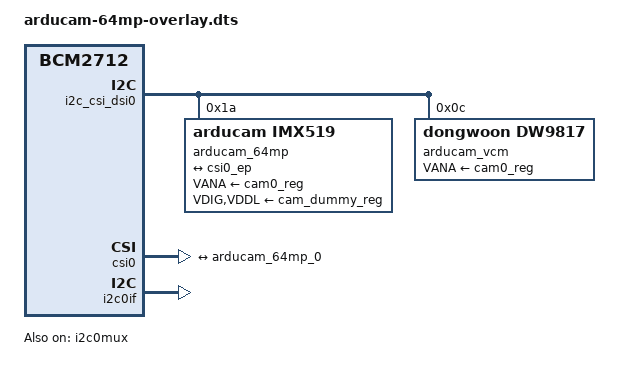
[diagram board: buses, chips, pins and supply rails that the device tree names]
/*
 * Arducam 16MP Autofocus Camera (IMX519) Device Tree Overlay
 * Raspberry Pi 5 - MIPI CSI-2 - 16MP with PDAF
 */

/dts-v1/;
/plugin/;

/ {
    compatible = "brcm,bcm2712";
    
    fragment@0 {
        target = <&i2c_csi_dsi0>;
        __overlay__ {
            #address-cells = <1>;
            #size-cells = <0>;
            status = "okay";
            
            arducam_64mp: arducam_64mp@1a {
                compatible = "arducam,imx519";
                reg = <0x1a>;
                status = "okay";
                
                clocks = <&cam0_clk>;
                clock-names = "xclk";
                
                VANA-supply = <&cam0_reg>;
                VDIG-supply = <&cam_dummy_reg>;
                VDDL-supply = <&cam_dummy_reg>;
                
                rotation = <0>;
                orientation = <2>;
                
                lens-focus = <&arducam_vcm>;
                
                port {
                    arducam_64mp_0: endpoint {
                        remote-endpoint = <&csi0_ep>;
                        clock-lanes = <0>;
                        data-lanes = <1 2>;
                        clock-noncontinuous;
                        link-frequencies = /bits/ 64 <493500000>;
                    };
                };
            };
            
            arducam_vcm: dw9817@c {
                compatible = "dongwoon,dw9817";
                reg = <0x0c>;
                status = "okay";
                VANA-supply = <&cam0_reg>;
            };
        };
    };
    
    fragment@1 {
        target = <&csi0>;
        __overlay__ {
            status = "okay";
            
            port {
                csi0_ep: endpoint {
                    remote-endpoint = <&arducam_64mp_0>;
                    data-lanes = <1 2>;
                };
            };
        };
    };
    
    fragment@2 {
        target = <&i2c0if>;
        __overlay__ {
            status = "okay";
        };
    };
    
    fragment@3 {
        target = <&i2c0mux>;
        __overlay__ {
            status = "okay";
        };
    };
    
    __overrides__ {
        rotation = <&arducam_64mp>,"rotation:0";
        orientation = <&arducam_64mp>,"orientation:0";
        media-controller = <&csi0>,"brcm,media-controller?";
        cam0 = <&arducam_64mp>, "status",
               <&arducam_vcm>, "status";
    };
};
